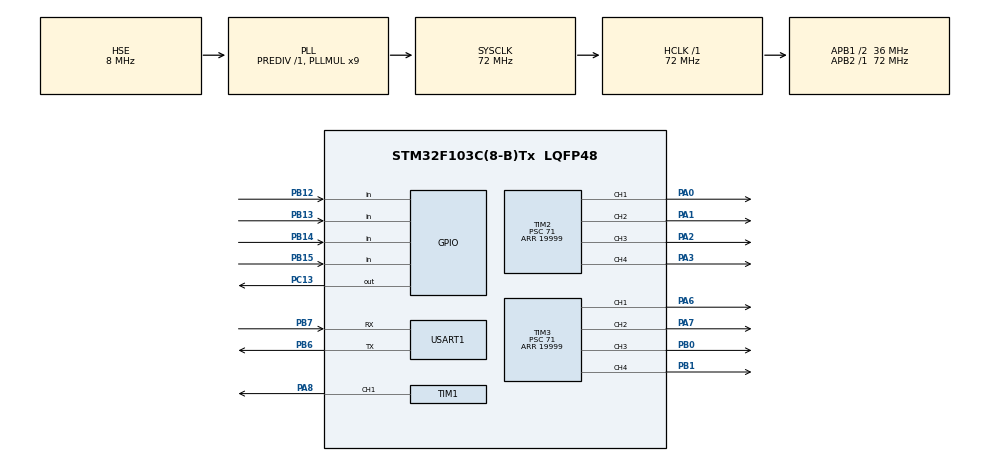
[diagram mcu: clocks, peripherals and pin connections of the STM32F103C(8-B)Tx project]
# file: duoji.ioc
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Mcu.Family=STM32F1
Mcu.Name=STM32F103C(8-B)Tx
Mcu.Package=LQFP48
NVIC.PriorityGroup=NVIC_PRIORITYGROUP_4
NVIC.USART1_IRQn=true\:0\:0\:false\:false\:true\:true\:true\:true
PA0-WKUP.Signal=S_TIM2_CH1_ETR
PA1.Signal=S_TIM2_CH2
PA13.Mode=Serial_Wire
PA13.Signal=SYS_JTMS-SWDIO
PA14.Mode=Serial_Wire
PA14.Signal=SYS_JTCK-SWCLK
PA2.Signal=S_TIM2_CH3
PA3.Signal=S_TIM2_CH4
PA6.Signal=S_TIM3_CH1
PA7.Signal=S_TIM3_CH2
PA8.Signal=S_TIM1_CH1
PB0.Signal=S_TIM3_CH3
PB1.Signal=S_TIM3_CH4
PB12.Signal=GPIO_Input
PB13.Signal=GPIO_Input
PB14.Signal=GPIO_Input
PB15.Signal=GPIO_Input
PB6.Mode=Asynchronous
PB6.Signal=USART1_TX
PB7.Mode=Asynchronous
PB7.Signal=USART1_RX
PC13-TAMPER-RTC.Signal=GPIO_Output
PD0-OSC_IN.Mode=HSE-External-Oscillator
PD0-OSC_IN.Signal=RCC_OSC_IN
PD1-OSC_OUT.Mode=HSE-External-Oscillator
PD1-OSC_OUT.Signal=RCC_OSC_OUT
ProjectManager.HeapSize=0x200
ProjectManager.StackSize=0x400
ProjectManager.TargetToolchain=MDK-ARM V5.32
RCC.AHBFreq_Value=72000000
RCC.APB1CLKDivider=RCC_HCLK_DIV2
RCC.APB1Freq_Value=36000000
RCC.APB1TimFreq_Value=72000000
RCC.APB2Freq_Value=72000000
RCC.APB2TimFreq_Value=72000000
RCC.HCLKFreq_Value=72000000
RCC.PLLMUL=RCC_PLL_MUL9
RCC.PLLSourceVirtual=RCC_PLLSOURCE_HSE
RCC.SYSCLKFreq_VALUE=72000000
RCC.SYSCLKSource=RCC_SYSCLKSOURCE_PLLCLK
RCC.USBFreq_Value=72000000
SH.S_TIM1_CH1.0=TIM1_CH1,PWM Generation1 CH1
SH.S_TIM2_CH1_ETR.0=TIM2_CH1,PWM Generation1 CH1
SH.S_TIM2_CH2.0=TIM2_CH2,PWM Generation2 CH2
SH.S_TIM2_CH3.0=TIM2_CH3,PWM Generation3 CH3
SH.S_TIM2_CH4.0=TIM2_CH4,PWM Generation4 CH4
SH.S_TIM3_CH1.0=TIM3_CH1,PWM Generation1 CH1
SH.S_TIM3_CH2.0=TIM3_CH2,PWM Generation2 CH2
SH.S_TIM3_CH3.0=TIM3_CH3,PWM Generation3 CH3
SH.S_TIM3_CH4.0=TIM3_CH4,PWM Generation4 CH4
TIM1.Channel-PWM\ Generation1\ CH1=TIM_CHANNEL_1
TIM1.Period=20000-1
TIM1.Prescaler=71
TIM2.Channel-PWM\ Generation1\ CH1=TIM_CHANNEL_1
TIM2.Channel-PWM\ Generation2\ CH2=TIM_CHANNEL_2
TIM2.Channel-PWM\ Generation3\ CH3=TIM_CHANNEL_3
TIM2.Channel-PWM\ Generation4\ CH4=TIM_CHANNEL_4
TIM2.Period=19999
TIM2.Prescaler=71
TIM3.Channel-PWM\ Generation1\ CH1=TIM_CHANNEL_1
TIM3.Channel-PWM\ Generation2\ CH2=TIM_CHANNEL_2
TIM3.Channel-PWM\ Generation3\ CH3=TIM_CHANNEL_3
TIM3.Channel-PWM\ Generation4\ CH4=TIM_CHANNEL_4
TIM3.Period=19999
TIM3.Prescaler=71
USART1.VirtualMode=VM_ASYNC
board=custom

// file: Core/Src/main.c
/* USER CODE BEGIN Header */
/**
 ******************************************************************************
 * @file           : main.c
 * @brief          : Main program body
 ******************************************************************************
 * @attention
 *
 * Copyright (c) 2023 STMicroelectronics.
 * All rights reserved.
 *
 * This software is licensed under terms that can be found in the LICENSE file
 * in the root directory of this software component.
 * If no LICENSE file comes with this software, it is provided AS-IS.
 *
 ******************************************************************************
 时间�?2021�?1�?7�?
 作�?�：董策
 作用：机械臂控制
 */
/* USER CODE END Header */
#include "main.h"
#include "tim.h"
#include "usart.h"
#include "gpio.h"

/* USER CODE BEGIN Includes */

#include "servo.h"

uint8_t buffer;
extern uint8_t count;
extern uint8_t buf[6];
uint8_t rx_flag = 0;
/* USER CODE END Includes */

/* USER CODE BEGIN PTD */
uint8_t flag = 0;
uint8_t Last_Flag = 0;
/* USER CODE END PTD */

/* USER CODE BEGIN PV */
// printf重定�??
int fputc(int ch, FILE *p)
{
  while (!(USART1->SR & (1 << 7)))
    ;

  USART1->DR = ch;

  return ch;
}
/* USER CODE END PV */

void SystemClock_Config(void);

int main(void)
{

  /* MCU Configuration--------------------------------------------------------*/

  /* Reset of all peripherals, Initializes the Flash interface and the Systick. */
  HAL_Init();

  /* Configure the system clock */
  SystemClock_Config();

  /* Initialize all configured peripherals */
  MX_GPIO_Init();
  MX_TIM1_Init();
  MX_USART1_UART_Init();
  MX_TIM2_Init();
  MX_TIM3_Init();
  /* USER CODE BEGIN 2 */

  printf("xunjixiaoche ceshi cehengxu \n");
  HAL_TIM_PWM_Start(&htim2, TIM_CHANNEL_1);
  HAL_TIM_PWM_Start(&htim2, TIM_CHANNEL_2);
  HAL_TIM_PWM_Start(&htim2, TIM_CHANNEL_3);
  HAL_TIM_PWM_Start(&htim2, TIM_CHANNEL_4);

  HAL_TIM_PWM_Start(&htim3, TIM_CHANNEL_1); // 小车转向pa6
  HAL_TIM_PWM_Start(&htim3, TIM_CHANNEL_2); // 小车转向pa7
                                            //  HAL_TIM_PWM_Start(&htim3, TIM_CHANNEL_2);

  HAL_UART_Receive_IT(&huart1, (uint8_t *)&buffer, 1);

  start_state(); // 舵机初始位置
  /* USER CODE END 2 */

  /* Infinite loop */
  /* USER CODE BEGIN WHILE */
  while (1)
  {

    // Line_Tracing(); // 循迹
   Blue_catch();
	  Red_catch();
    //AutoCatch(); // 自动抓取

    // printf("test demo\n");

    /* USER CODE END WHILE */

  }
}

void SystemClock_Config(void)
{
  RCC_OscInitTypeDef RCC_OscInitStruct = {0};
  RCC_ClkInitTypeDef RCC_ClkInitStruct = {0};

  /** Initializes the RCC Oscillators according to the specified parameters
   * in the RCC_OscInitTypeDef structure.
   */
  RCC_OscInitStruct.OscillatorType = RCC_OSCILLATORTYPE_HSE;
  RCC_OscInitStruct.HSEState = RCC_HSE_ON;
  RCC_OscInitStruct.HSEPredivValue = RCC_HSE_PREDIV_DIV1;
  RCC_OscInitStruct.HSIState = RCC_HSI_ON;
  RCC_OscInitStruct.PLL.PLLState = RCC_PLL_ON;
  RCC_OscInitStruct.PLL.PLLSource = RCC_PLLSOURCE_HSE;
  RCC_OscInitStruct.PLL.PLLMUL = RCC_PLL_MUL9;
  if (HAL_RCC_OscConfig(&RCC_OscInitStruct) != HAL_OK)
  {
    Error_Handler();
  }

  /** Initializes the CPU, AHB and APB buses clocks
   */
  RCC_ClkInitStruct.ClockType = RCC_CLOCKTYPE_HCLK | RCC_CLOCKTYPE_SYSCLK | RCC_CLOCKTYPE_PCLK1 | RCC_CLOCKTYPE_PCLK2;
  RCC_ClkInitStruct.SYSCLKSource = RCC_SYSCLKSOURCE_PLLCLK;
  RCC_ClkInitStruct.AHBCLKDivider = RCC_SYSCLK_DIV1;
  RCC_ClkInitStruct.APB1CLKDivider = RCC_HCLK_DIV2;
  RCC_ClkInitStruct.APB2CLKDivider = RCC_HCLK_DIV1;

  if (HAL_RCC_ClockConfig(&RCC_ClkInitStruct, FLASH_LATENCY_2) != HAL_OK)
  {
    Error_Handler();
  }
}

void Error_Handler(void)
{
  __disable_irq();
  while (1)
  {
  }
}
